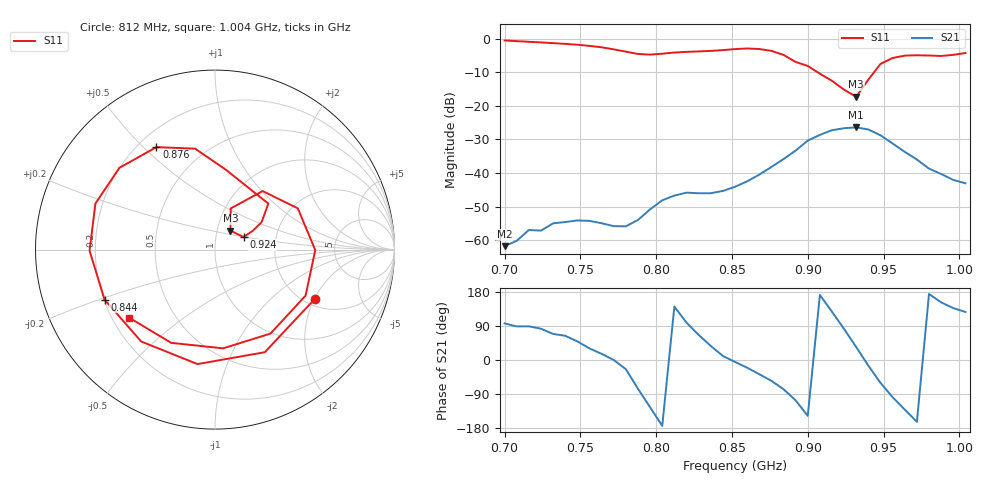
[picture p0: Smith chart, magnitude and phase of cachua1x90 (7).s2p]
# Hz S RI R 50
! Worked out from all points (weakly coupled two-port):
!   39 points, 700 MHz to 1.004 GHz, reference 50 ohm
!   highest |S21| = -26.41 dB at 932 MHz (marker M1); lowest = -61.8 dB at 700 MHz (marker M2)
!   lowest |S11| = -17.3 dB at 932 MHz (marker M3), VSWR 1.32, Z = 58 + j12.5 ohm
!   |S11| at or under -10 dB: 906.5 MHz to 943.8 MHz (37.27 MHz wide, 4.03 % of centre)
!   S12 and S22 are empty: the file has one direction only
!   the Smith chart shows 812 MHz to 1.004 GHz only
!   S11 on the Smith chart (normalised r, x): 812 MHz: 2.27, -2.02; 844 MHz: 0.20, -0.21; 876 MHz: 0.27, +0.55; 924 MHz: 1.36, +0.20; 1.004 GHz: 0.27, -0.33
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7e8  0.7606 0.5519  -9.36e-05 0.000811  0 0  0 0
7.24e8  0.8436 -0.2459  0.00018 0.00138  0 0  0 0
7.4e8  0.4566 -0.6995  0.000819 0.00167  0 0  0 0
7.56e8  -0.1904 -0.7567  0.00167 0.000987  0 0  0 0
7.72e8  -0.6633 -0.2004  0.00162 8.47e-07  0 0  0 0
7.8e8  -0.6001 0.2234  0.00147 -0.000658  0 0  0 0
7.88e8  -0.2541 0.5335  0.000482 -0.00194  0 0  0 0
7.96e8  0.2342 0.5292  -0.00165 -0.00237  0 0  0 0
8.04e8  0.5678 0.1816  -0.00391 -0.000425  0 0  0 0
8.12e8  0.5569 -0.2739  -0.00359 0.0029  0 0  0 0
8.28e8  -0.0976 -0.6379  0.00201 0.00458  0 0  0 0
8.44e8  -0.6152 -0.2784  0.00532 0.00101  0 0  0 0
8.52e8  -0.6989 -0.00642  0.00621 -0.000557  0 0  0 0
8.76e8  -0.3262 0.5711  0.00707 -0.0101  0 0  0 0
9e8  0.2972 0.2563  -0.0256 -0.0164  0 0  0 0
9.08e8  0.2594 0.1523  -0.0366 0.00538  0 0  0 0
9.24e8  0.1589 0.07  0.00673 0.046  0 0  0 0
9.32e8  0.0861 0.1059  0.0397 0.0267  0 0  0 0
9.56e8  0.4613 0.2299  -0.00389 -0.0272  0 0  0 0
9.64e8  0.5587 -0.00283  -0.0136 -0.0156  0 0  0 0
9.8e8  0.309 -0.4679  -0.0116 0.00118  0 0  0 0
1.004e9  -0.4778 -0.3797  -0.00422 0.00563  0 0  0 0
